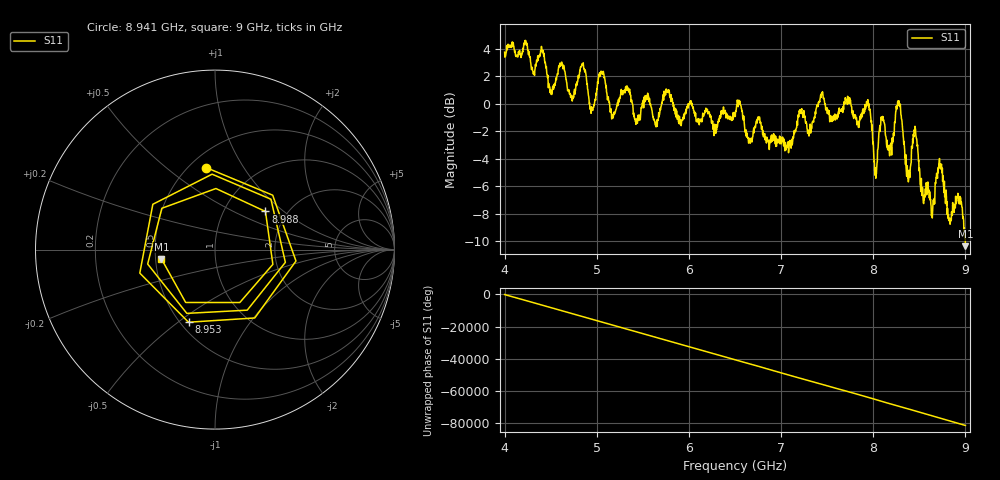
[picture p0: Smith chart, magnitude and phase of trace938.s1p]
! Created with skrf 1.8.0 (http://scikit-rf.org).
# Hz S RI R 50.0
!freq ReS11 ImS11
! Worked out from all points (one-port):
!   1601 points, 4 GHz to 9 GHz, reference 50 ohm
!   lowest |S11| = -10.4 dB at 9 GHz (marker M1), VSWR 1.87, Z = 26.9 - j3.08 ohm
!   |S11| at or under -10 dB: 8.998781 GHz to end of sweep
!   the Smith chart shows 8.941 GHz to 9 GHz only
!   S11 on the Smith chart (normalised r, x): 8.941 GHz: 0.60, +0.70; 8.953 GHz: 0.55, -0.55; 8.988 GHz: 1.56, +0.76; 9 GHz: 0.54, -0.06
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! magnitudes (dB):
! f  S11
! 4 GHz  3.8
! 4.406 GHz  3.9
! 4.506 GHz  0.9
! 4.625 GHz  2.9
! 4.728 GHz  0.6
! 4.856 GHz  2.8
! 4.944 GHz  -0.5
! 5.05 GHz  2.3
! 5.25 GHz  0.4
! 5.875 GHz  -1.1
! 6.5 GHz  -0.6
! 7.125 GHz  -2.7
! 7.75 GHz  0.2
! 7.947 GHz  0.0
! 8.028 GHz  -5.4
! 8.088 GHz  -1.0
! 8.178 GHz  -3.8
! 8.275 GHz  0.2
! 8.375 GHz  -5.4
! 8.453 GHz  -1.6
! 8.538 GHz  -6.3
! 8.644 GHz  -7.8
! 8.725 GHz  -4.4
! 8.828 GHz  -8.3
! 8.941 GHz  -6.7
! 8.953 GHz  -7.3
! 8.988 GHz  -9.1
! 9 GHz  -10.4
